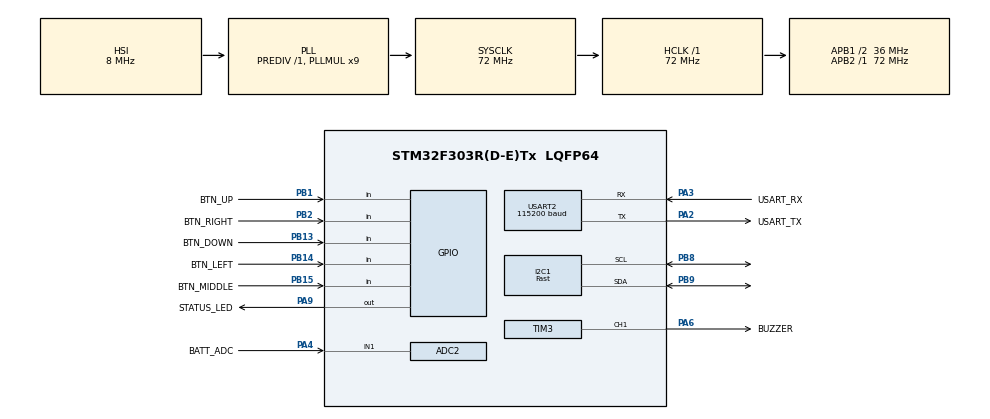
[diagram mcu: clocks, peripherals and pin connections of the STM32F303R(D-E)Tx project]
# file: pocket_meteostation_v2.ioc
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ADC2.Channel-0\#ChannelRegularConversion=ADC_CHANNEL_1
ADC2.NbrOfConversionFlag=1
ADC2.Offset-0\#ChannelRegularConversion=0
ADC2.OffsetNumber-0\#ChannelRegularConversion=ADC_OFFSET_NONE
ADC2.Rank-0\#ChannelRegularConversion=1
ADC2.SamplingTime-0\#ChannelRegularConversion=ADC_SAMPLETIME_1CYCLE_5
ADC2.SamplingTimeOPAMP-0\#ChannelRegularConversion=ADC_SAMPLETIME_61CYCLES_5
FREERTOS.Tasks01=readBattVoltage,24,256,StartReadBattVoltageTask,Default,NULL,Dynamic,NULL,NULL;renderUI,32,256,StartRenderUITask,Default,NULL,Dynamic,NULL,NULL;pollKeypad,32,256,StartPollKeypadTask,Default,NULL,Dynamic,NULL,NULL;readBMEValues,24,256,StartReadBMEValuesTask,Default,NULL,Dynamic,NULL,NULL;readDateTime,24,256,StartReadDateTimeTask,Default,NULL,Dynamic,NULL,NULL;blinkStatusLED,40,256,StartBlinkStatusLEDTask,Default,NULL,Dynamic,NULL,NULL
FREERTOS.configTOTAL_HEAP_SIZE=8192
FREERTOS.configUSE_NEWLIB_REENTRANT=1
I2C1.I2C_Speed_Mode=I2C_Fast
I2C1.Timing=0x0000020B
Mcu.Family=STM32F3
Mcu.Name=STM32F303R(D-E)Tx
Mcu.Package=LQFP64
NVIC.PriorityGroup=NVIC_PRIORITYGROUP_4
NVIC.TIM1_TRG_COM_TIM17_IRQn=true\:15\:0\:false\:false\:true\:false\:false\:true\:true
NVIC.TimeBase=TIM1_TRG_COM_TIM17_IRQn
NVIC.TimeBaseIP=TIM17
PA13.GPIO_Label=TMS
PA13.Mode=Serial_Wire
PA13.Signal=SYS_JTMS-SWDIO
PA14.GPIO_Label=TCK
PA14.Mode=Serial_Wire
PA14.Signal=SYS_JTCK-SWCLK
PA2.GPIO_Label=USART_TX
PA2.GPIO_Mode=GPIO_MODE_AF_PP
PA2.GPIO_PuPd=GPIO_NOPULL
PA2.GPIO_Speed=GPIO_SPEED_FREQ_LOW
PA2.Mode=Asynchronous
PA2.Signal=USART2_TX
PA3.GPIO_Label=USART_RX
PA3.GPIO_Mode=GPIO_MODE_AF_PP
PA3.GPIO_PuPd=GPIO_NOPULL
PA3.GPIO_Speed=GPIO_SPEED_FREQ_LOW
PA3.Mode=Asynchronous
PA3.Signal=USART2_RX
PA4.GPIO_Label=BATT_ADC
PA4.Mode=IN1-Single-Ended
PA4.Signal=ADC2_IN1
PA6.GPIO_Label=BUZZER
PA6.Signal=S_TIM3_CH1
PA9.GPIO_Label=STATUS_LED
PA9.Signal=GPIO_Output
PB1.GPIO_Label=BTN_UP
PB1.GPIO_PuPd=GPIO_PULLDOWN
PB1.Signal=GPIO_Input
PB13.GPIO_Label=BTN_DOWN
PB13.GPIO_PuPd=GPIO_PULLDOWN
PB13.Signal=GPIO_Input
PB14.GPIO_Label=BTN_LEFT
PB14.GPIO_PuPd=GPIO_PULLDOWN
PB14.Signal=GPIO_Input
PB15.GPIO_Label=BTN_MIDDLE
PB15.GPIO_PuPd=GPIO_PULLDOWN
PB15.Signal=GPIO_Input
PB2.GPIO_Label=BTN_RIGHT
PB2.GPIO_PuPd=GPIO_PULLDOWN
PB2.Signal=GPIO_Input
PB3.GPIO_Label=SWO
PB3.Signal=SYS_JTDO-TRACESWO
PB8.Mode=I2C
PB8.Signal=I2C1_SCL
PB9.Mode=I2C
PB9.Signal=I2C1_SDA
PC14-OSC32_IN.Mode=LSE-External-Oscillator
PC14-OSC32_IN.Signal=RCC_OSC32_IN
PC15-OSC32_OUT.Mode=LSE-External-Oscillator
PC15-OSC32_OUT.Signal=RCC_OSC32_OUT
PF0-OSC_IN.Mode=HSE-External-Clock-Source
PF0-OSC_IN.Signal=RCC_OSC_IN
PF1-OSC_OUT.Signal=RCC_OSC_OUT
ProjectManager.HeapSize=0x200
ProjectManager.StackSize=0x400
ProjectManager.TargetToolchain=STM32CubeIDE
RCC.AHBFreq_Value=72000000
RCC.APB1CLKDivider=RCC_HCLK_DIV2
RCC.APB1Freq_Value=36000000
RCC.APB1TimFreq_Value=72000000
RCC.APB2Freq_Value=72000000
RCC.APB2TimFreq_Value=72000000
RCC.CortexFreq_Value=72000000
RCC.HCLKFreq_Value=72000000
RCC.HSE_VALUE=8000000
RCC.HSI_VALUE=8000000
RCC.PLLM=8
RCC.PLLMUL=RCC_PLL_MUL9
RCC.PLLN=336
RCC.PLLP=RCC_PLLP_DIV4
RCC.PLLQ=7
RCC.RCC_PLLsource_Clock_Source_FROM_HSE=RCC_HSE_PREDIV_DIV2
RCC.SYSCLKFreq_VALUE=72000000
RCC.SYSCLKSourceVirtual=RCC_SYSCLKSOURCE_PLLCLK
RCC.USBFreq_Value=72000000
SH.S_TIM3_CH1.0=TIM3_CH1,PWM Generation1 CH1
TIM3.AutoReloadPreload=TIM_AUTORELOAD_PRELOAD_ENABLE
TIM3.Channel-PWM\ Generation1\ CH1=TIM_CHANNEL_1
TIM3.Period=999
TIM3.Prescaler=71
USART2.BaudRate=115200
USART2.VirtualMode-Asynchronous=VM_ASYNC
VP_FREERTOS_VS_CMSIS_V2.Mode=CMSIS_V2
VP_SYS_VS_tim17.Mode=TIM17
board=NUCLEO-F303RE

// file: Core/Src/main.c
/* USER CODE BEGIN Header */
/**
 ******************************************************************************
 * @file           : main.c
 * @brief          : Main program body
 ******************************************************************************
 * @attention
 *
 * Copyright (c) 2024 STMicroelectronics.
 * All rights reserved.
 *
 * This software is licensed under terms that can be found in the LICENSE file
 * in the root directory of this software component.
 * If no LICENSE file comes with this software, it is provided AS-IS.
 *
 ******************************************************************************
 */
/* USER CODE END Header */
#include "main.h"
#include "cmsis_os.h"
#include "adc.h"
#include "i2c.h"
#include "tim.h"
#include "usart.h"
#include "gpio.h"

/* USER CODE BEGIN Includes */
#include "ssd1306/ssd1306.h"
#include "BME280/BME280.h"
#include "ds3231/ds3231_for_stm32_hal.h"
/* USER CODE END Includes */

void SystemClock_Config(void);
void MX_FREERTOS_Init(void);

int main(void)
{

  /* MCU Configuration--------------------------------------------------------*/

  /* Reset of all peripherals, Initializes the Flash interface and the Systick. */
  HAL_Init();

  /* Configure the system clock */
  SystemClock_Config();

  /* Initialize all configured peripherals */
  MX_GPIO_Init();
  MX_USART2_UART_Init();
  MX_ADC2_Init();
  MX_I2C1_Init();
  MX_TIM3_Init();
  /* USER CODE BEGIN 2 */

	HAL_ADCEx_Calibration_Start(&hadc2, ADC_SINGLE_ENDED);
	HAL_TIM_PWM_Start(&htim3, TIM_CHANNEL_1);
	ssd1306_Init();
	BME280_Init();
	DS3231_Init(&hi2c1);

  /* USER CODE END 2 */

  /* Init scheduler */
  osKernelInitialize();

  /* Call init function for freertos objects (in cmsis_os2.c) */
  MX_FREERTOS_Init();

  /* Start scheduler */
  osKernelStart();

  /* We should never get here as control is now taken by the scheduler */

  /* Infinite loop */
	while (1)
	{

	}
}

void SystemClock_Config(void)
{
  RCC_OscInitTypeDef RCC_OscInitStruct = {0};
  RCC_ClkInitTypeDef RCC_ClkInitStruct = {0};
  RCC_PeriphCLKInitTypeDef PeriphClkInit = {0};

  /** Initializes the RCC Oscillators according to the specified parameters
  * in the RCC_OscInitTypeDef structure.
  */
  RCC_OscInitStruct.OscillatorType = RCC_OSCILLATORTYPE_HSI;
  RCC_OscInitStruct.HSIState = RCC_HSI_ON;
  RCC_OscInitStruct.HSICalibrationValue = RCC_HSICALIBRATION_DEFAULT;
  RCC_OscInitStruct.PLL.PLLState = RCC_PLL_ON;
  RCC_OscInitStruct.PLL.PLLSource = RCC_PLLSOURCE_HSI;
  RCC_OscInitStruct.PLL.PLLMUL = RCC_PLL_MUL9;
  RCC_OscInitStruct.PLL.PREDIV = RCC_PREDIV_DIV1;
  if (HAL_RCC_OscConfig(&RCC_OscInitStruct) != HAL_OK)
  {
    Error_Handler();
  }

  /** Initializes the CPU, AHB and APB buses clocks
  */
  RCC_ClkInitStruct.ClockType = RCC_CLOCKTYPE_HCLK|RCC_CLOCKTYPE_SYSCLK
                              |RCC_CLOCKTYPE_PCLK1|RCC_CLOCKTYPE_PCLK2;
  RCC_ClkInitStruct.SYSCLKSource = RCC_SYSCLKSOURCE_PLLCLK;
  RCC_ClkInitStruct.AHBCLKDivider = RCC_SYSCLK_DIV1;
  RCC_ClkInitStruct.APB1CLKDivider = RCC_HCLK_DIV2;
  RCC_ClkInitStruct.APB2CLKDivider = RCC_HCLK_DIV1;

  if (HAL_RCC_ClockConfig(&RCC_ClkInitStruct, FLASH_LATENCY_2) != HAL_OK)
  {
    Error_Handler();
  }
  PeriphClkInit.PeriphClockSelection = RCC_PERIPHCLK_USART2|RCC_PERIPHCLK_I2C1
                              |RCC_PERIPHCLK_ADC12|RCC_PERIPHCLK_TIM34;
  PeriphClkInit.Usart2ClockSelection = RCC_USART2CLKSOURCE_PCLK1;
  PeriphClkInit.Adc12ClockSelection = RCC_ADC12PLLCLK_DIV1;
  PeriphClkInit.I2c1ClockSelection = RCC_I2C1CLKSOURCE_HSI;
  PeriphClkInit.Tim34ClockSelection = RCC_TIM34CLK_HCLK;
  if (HAL_RCCEx_PeriphCLKConfig(&PeriphClkInit) != HAL_OK)
  {
    Error_Handler();
  }
}

void HAL_TIM_PeriodElapsedCallback(TIM_HandleTypeDef *htim)
{
  if (htim->Instance == TIM17) {
    HAL_IncTick();
  }
}

void Error_Handler(void)
{
	__disable_irq();
	while (1)
	{
	}
}

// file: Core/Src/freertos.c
/* USER CODE BEGIN Header */
/**
 ******************************************************************************
 * File Name          : freertos.c
 * Description        : Code for freertos applications
 ******************************************************************************
 * @attention
 *
 * Copyright (c) 2024 STMicroelectronics.
 * All rights reserved.
 *
 * This software is licensed under terms that can be found in the LICENSE file
 * in the root directory of this software component.
 * If no LICENSE file comes with this software, it is provided AS-IS.
 *
 ******************************************************************************
 */
/* USER CODE END Header */

#include "FreeRTOS.h"
#include "task.h"
#include "main.h"
#include "cmsis_os.h"

/* USER CODE BEGIN Includes */

#include "pocket_meteostation/pocket_meteostation.h"
#include "Float_transform/Float_transform.h"
#include "Keypad/Keypad.h"
#include "BME280/BME280.h"
#include "ds3231/ds3231_for_stm32_hal.h"

#include "stdio.h"
#include "string.h"
#include "stdbool.h"
#include "adc.h"
#include "i2c.h"
#include "tim.h"
#include "usart.h"
#include "gpio.h"

/* USER CODE END Includes */

/* USER CODE BEGIN Variables */

// variables for processing float numbers
extern uint8_t sign_number;
extern int integer_number;
extern uint32_t fractional_number;

extern BatteryVoltage_t battery;
extern BMEValues_t bme_values;
extern DateTime_t date_time;

extern Menu_t menu_pages[];
extern uint8_t menu_kursor;
extern uint8_t temp_menu_kursor;
extern uint8_t press_menu_kursor;
extern uint8_t batt_menu_kursor;
extern uint8_t settings_menu_cursor;
extern uint8_t set_time_cursor;

extern bool setTimeMode;

extern Key key_pressed;
extern Key previos_key;

/* USER CODE END Variables */
/* Definitions for readBattVoltage */
osThreadId_t readBattVoltageHandle;
const osThreadAttr_t readBattVoltage_attributes =
{ .name = "readBattVoltage", .stack_size = 256 * 4, .priority = (osPriority_t) osPriorityNormal, };
/* Definitions for renderUI */
osThreadId_t renderUIHandle;
const osThreadAttr_t renderUI_attributes =
{ .name = "renderUI", .stack_size = 256 * 4, .priority = (osPriority_t) osPriorityAboveNormal, };
/* Definitions for pollKeypad */
osThreadId_t pollKeypadHandle;
const osThreadAttr_t pollKeypad_attributes =
{ .name = "pollKeypad", .stack_size = 256 * 4, .priority = (osPriority_t) osPriorityAboveNormal, };
/* Definitions for readBMEValues */
osThreadId_t readBMEValuesHandle;
const osThreadAttr_t readBMEValues_attributes =
{ .name = "readBMEValues", .stack_size = 256 * 4, .priority = (osPriority_t) osPriorityNormal, };
/* Definitions for readDateTime */
osThreadId_t readDateTimeHandle;
const osThreadAttr_t readDateTime_attributes =
{ .name = "readDateTime", .stack_size = 256 * 4, .priority = (osPriority_t) osPriorityNormal, };
/* Definitions for blinkStatusLED */
osThreadId_t blinkStatusLEDHandle;
const osThreadAttr_t blinkStatusLED_attributes =
{ .name = "blinkStatusLED", .stack_size = 256 * 4, .priority = (osPriority_t) osPriorityHigh, };

void StartReadBattVoltageTask(void *argument);
void StartRenderUITask(void *argument);
void StartPollKeypadTask(void *argument);
void StartReadBMEValuesTask(void *argument);
void StartReadDateTimeTask(void *argument);
void StartBlinkStatusLEDTask(void *argument);

void MX_FREERTOS_Init(void); /* (MISRA C 2004 rule 8.1) */

void MX_FREERTOS_Init(void)
{

	/* Create the thread(s) */
	/* creation of readBattVoltage */
	readBattVoltageHandle = osThreadNew(StartReadBattVoltageTask, NULL, &readBattVoltage_attributes);

	/* creation of renderUI */
	renderUIHandle = osThreadNew(StartRenderUITask, NULL, &renderUI_attributes);

	/* creation of pollKeypad */
	pollKeypadHandle = osThreadNew(StartPollKeypadTask, NULL, &pollKeypad_attributes);

	/* creation of readBMEValues */
	readBMEValuesHandle = osThreadNew(StartReadBMEValuesTask, NULL, &readBMEValues_attributes);

	/* creation of readDateTime */
	readDateTimeHandle = osThreadNew(StartReadDateTimeTask, NULL, &readDateTime_attributes);

	/* creation of blinkStatusLED */
	blinkStatusLEDHandle = osThreadNew(StartBlinkStatusLEDTask, NULL, &blinkStatusLED_attributes);

}

void StartReadBattVoltageTask(void *argument)
{
	/* USER CODE BEGIN StartReadBattVoltageTask */
	/* Infinite loop */

	for (;;)
	{
		HAL_ADC_Start(&hadc2);
		HAL_ADC_PollForConversion(&hadc2, 10);
		battery.raw_adc_value = HAL_ADC_GetValue(&hadc2);
		HAL_ADC_Stop(&hadc2);
		battery.voltage = (float) (battery.raw_adc_value * (3.3f / 4096.0f));
		battery.percentage = (100.0f * battery.raw_adc_value) / 4095.0f;
		Float_transform(battery.voltage, 2, &sign_number, &integer_number, &fractional_number);
		battery.voltage_integer_part = integer_number;
		battery.voltage_float_part = fractional_number;
		osDelay(100);

	}
	/* USER CODE END StartReadBattVoltageTask */
}

void StartRenderUITask(void *argument)
{
	/* USER CODE BEGIN StartRenderUITask */

	/* Infinite loop */
	for (;;)
	{
		switch (menu_pages[menu_kursor])
		{
		case BatteryMenu:
			if (batt_menu_kursor == 0)
				showBatteryMenuPercent();
			else if (batt_menu_kursor == 1)
				showBatteryMenuVolts();
			break;
		case TemperatureMenu:
			if (temp_menu_kursor == 0)
				showTemperatureMenu();
			else if (temp_menu_kursor == 1)
				showTemperatureMenuF();
			break;
		case TimeMenu:
			showTimeMenu();
			break;
		case HumidityMenu:
			showHumidityMenu();
			break;
		case PreassureMenu:
			if (press_menu_kursor == 0)
				showPressureMenuMMHG();
			else if (press_menu_kursor == 1)
				showPressureMenuHPA();
			break;
		case AltitudeMenu:
			showAltitudeMenu();
			break;
		case SettingsMenu:
			if (setTimeMode)
			{
				vTaskSuspend(readDateTimeHandle);
				showSetTimeMenu();
			}
			else
			{
				vTaskResume(readDateTimeHandle);
				showSettingsMenu();
			}
			break;
		default:
			showTimeMenu();
			break;
		}

		osDelay(25); // refresh rate
	}
	/* USER CODE END StartRenderUITask */
}

void StartPollKeypadTask(void *argument)
{
	/* USER CODE BEGIN StartPollKeypadTask */
	/* Infinite loop */
	for (;;)
	{
		key_pressed = pollKeypad();

		if (key_pressed != None)
		{
			previos_key = key_pressed;

			processKey(key_pressed);
		}
		osDelay(100);
	}
	/* USER CODE END StartPollKeypadTask */
}

void StartReadBMEValuesTask(void *argument)
{
	/* USER CODE BEGIN StartReadBMEValuesTask */
	/* Infinite loop */
	for (;;)
	{
		// temperature
		bme_values.temperature = BME280_ReadTemperature();

		// preasures
		bme_values.preassurePA = BME280_ReadPressure();
		bme_values.preassureHPA = bme_values.preassurePA / 1000.0f;
		bme_values.preassureMMHG = bme_values.preassurePA * 0.000750061683f;
//
//		// altitude
		bme_values.altitude = BME280_ReadAltitude(SEALEVELPRESSURE_PA);
//
//		// humidity
		bme_values.humidity = BME280_ReadHumidity();

		osDelay(2000);
	}
	/* USER CODE END StartReadBMEValuesTask */
}

void StartReadDateTimeTask(void *argument)
{
	/* USER CODE BEGIN StartReadDateTimeTask */
	/* Infinite loop */
	for (;;)
	{
		date_time.hour = DS3231_GetHour();
		date_time.minute = DS3231_GetMinute();
		date_time.second = DS3231_GetSecond();

		date_time.year = DS3231_GetYear();
		date_time.month = DS3231_GetMonth();
		date_time.day = DS3231_GetDate();
		osDelay(500);
	}
	/* USER CODE END StartReadDateTimeTask */
}

void StartBlinkStatusLEDTask(void *argument)
{
	/* USER CODE BEGIN StartBlinkStatusLEDTask */
	/* Infinite loop */
	for (;;)
	{
		HAL_GPIO_TogglePin(STATUS_LED_GPIO_Port, STATUS_LED_Pin);
		osDelay(500);
	}
	/* USER CODE END StartBlinkStatusLEDTask */
}
